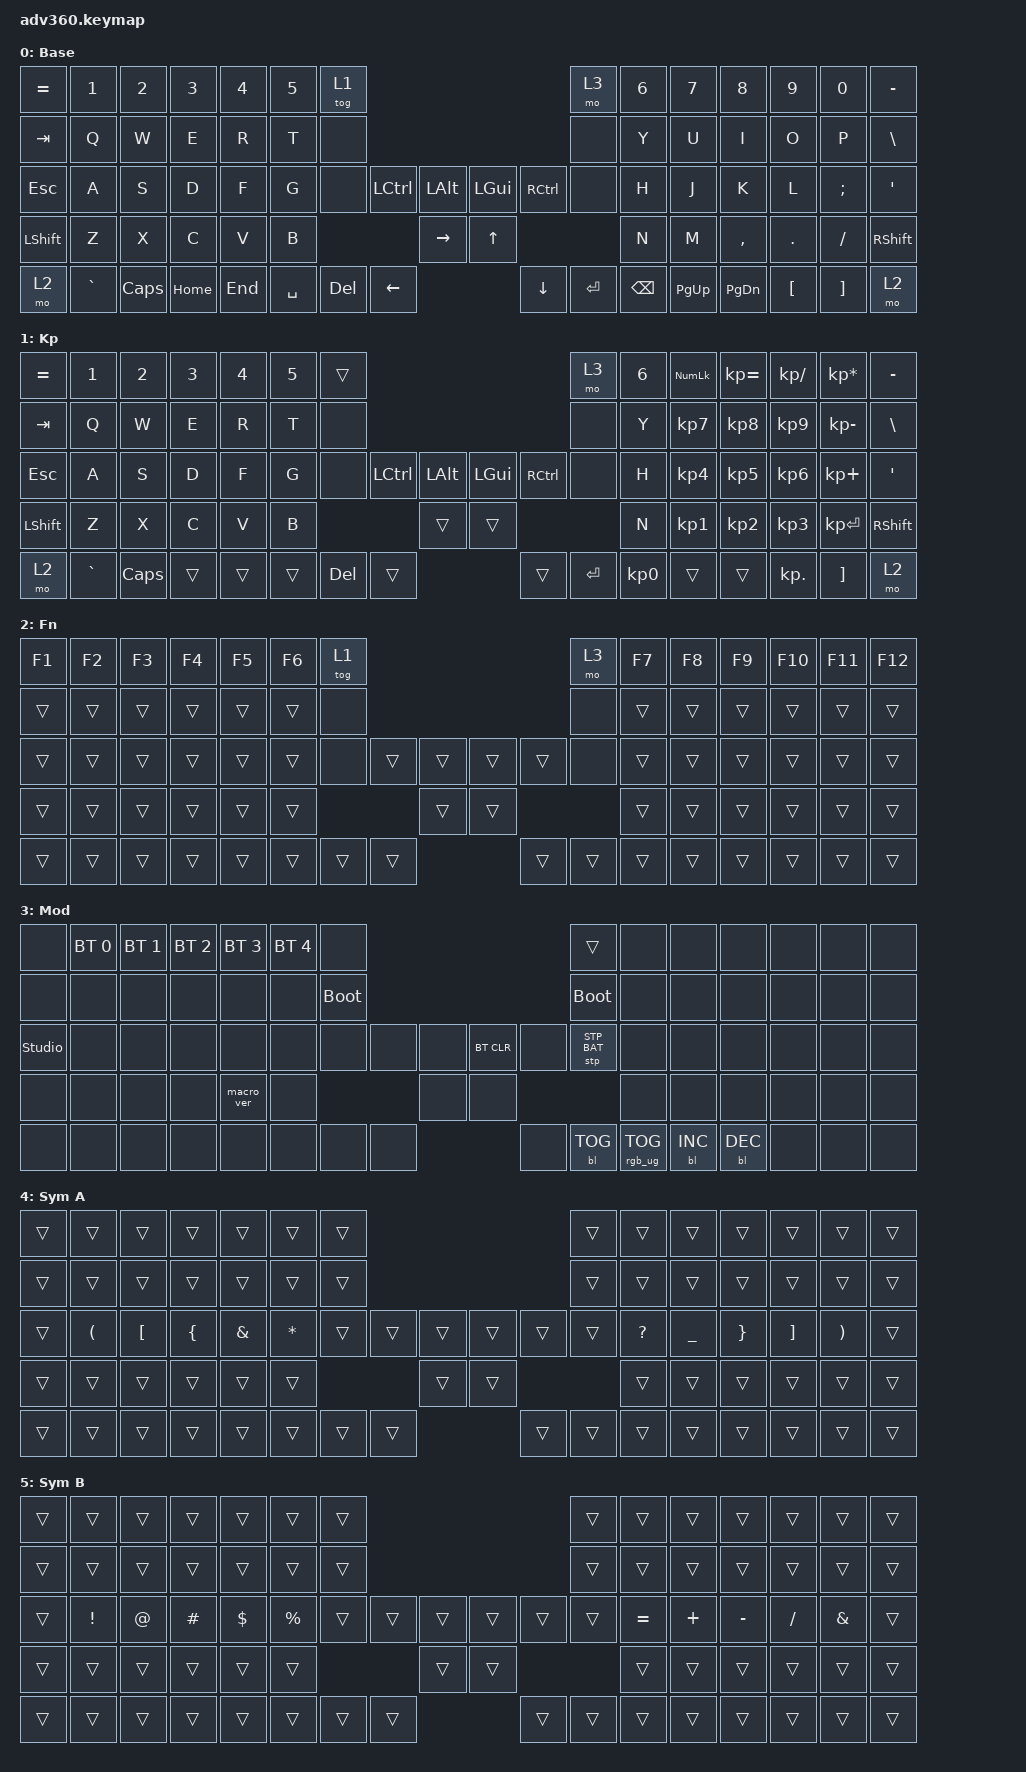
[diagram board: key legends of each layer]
#include <behaviors.dtsi>
#include <dt-bindings/zmk/keys.h>
#include <dt-bindings/zmk/bt.h>
#include <dt-bindings/zmk/rgb.h>
#include <dt-bindings/zmk/stp.h>
#include <dt-bindings/zmk/backlight.h>
#include <dt-bindings/zmk/pointing.h>

/ {
    behaviors {
      #include "macros.dtsi"
      #include "version.dtsi"

      hm: homerow_mods {
          compatible = "zmk,behavior-hold-tap";
          label = "HOMEROW_MODS";
          #binding-cells = <2>;
          tapping-term-ms = <200>;
          quick_tap_ms = <175>;
          flavor = "tap-preferred";
          bindings = <&kp>, <&kp>;
      };
    };

  keymap {
    compatible = "zmk,keymap";

    default_layer {
      display-name = "Base";
      bindings = <
        &kp EQUAL &kp N1    &kp N2   &kp N3   &kp N4    &kp N5 &tog 1                                                            &mo 3 &kp N6 &kp N7    &kp N8    &kp N9   &kp N0   &kp MINUS
        &kp TAB   &kp Q     &kp W    &kp E    &kp R     &kp T  &none                                                             &none &kp Y  &kp U     &kp I     &kp O    &kp P    &kp BSLH
        &kp ESC   &kp A     &kp S    &kp D    &kp F     &kp G  &none           &kp LCTRL &kp LALT  &kp LGUI  &kp RCTRL           &none &kp H  &kp J     &kp K     &kp L    &kp SEMI &kp SQT
        &kp LSHFT &kp Z     &kp X    &kp C    &kp V     &kp B                            &kp RIGHT &kp UP                              &kp N  &kp M     &kp COMMA &kp DOT  &kp FSLH &kp RSHFT
        &mo 2     &kp GRAVE &kp CAPS &kp HOME &kp END                 &kp SPACE &kp DEL  &kp LEFT  &kp DOWN  &kp ENTER &kp BSPC              &kp PG_UP &kp PG_DN &kp LBKT &kp RBKT &mo 2
      >;
    };
    keypad {
      display-name = "Kp";
      bindings = <
        &kp EQUAL &kp N1    &kp N2   &kp N3   &kp N4    &kp N5 &trans                                                            &mo 3 &kp N6 &kp KP_NUM &kp KP_EQUAL &kp KP_DIVIDE &kp KP_MULTIPLY &kp MINUS
        &kp TAB   &kp Q     &kp W    &kp E    &kp R     &kp T  &none                                                             &none &kp Y  &kp KP_N7  &kp KP_N8    &kp KP_N9     &kp KP_MINUS    &kp BSLH
        &kp ESC   &kp A     &kp S    &kp D    &kp F     &kp G  &none           &kp LCTRL &kp LALT  &kp LGUI  &kp RCTRL           &none &kp H  &kp KP_N4  &kp KP_N5    &kp KP_N6     &kp KP_PLUS     &kp SQT
        &kp LSHFT &kp Z     &kp X    &kp C    &kp V     &kp B                            &trans    &trans                              &kp N  &kp KP_N1  &kp KP_N2    &kp KP_N3     &kp KP_ENTER    &kp RSHFT
        &mo 2     &kp GRAVE &kp CAPS &trans   &trans               &trans    &kp DEL  &trans    &trans    &kp ENTER &kp KP_N0              &trans    &trans     &kp KP_DOT    &kp RBKT        &mo 2
      >;
    };
    fn {
      display-name = "Fn";
      bindings = <
        &kp F1 &kp F2 &kp F3 &kp F4 &kp F5 &kp F6 &tog 1                                                &mo 3 &kp F7 &kp F8 &kp F9 &kp F10 &kp F11 &kp F12
        &trans &trans &trans &trans &trans &trans  &none                                                  &none &trans &trans &trans &trans  &trans  &trans
        &trans &trans &trans &trans &trans &trans  &none           &trans    &trans    &trans    &trans   &none &trans &trans &trans &trans  &trans  &trans
        &trans &trans &trans &trans &trans &trans                            &trans    &trans                   &trans &trans &trans &trans  &trans  &trans
        &trans &trans &trans &trans &trans                  &trans &trans    &trans    &trans    &trans &trans         &trans &trans &trans  &trans  &trans
      >;
    };
    mod {
      display-name = "Mod";
      bindings = <
        &none  &bt BT_SEL 0 &bt BT_SEL 1 &bt BT_SEL 2 &bt BT_SEL 3 &bt BT_SEL 4 &none                                                                  &trans       &none        &none        &none        &none &none &none
        &none  &none        &none        &none        &none        &none        &bootloader                                                            &bootloader  &none        &none        &none        &none &none &none
        &studio_unlock &none &none       &none        &none        &none        &none               &none &none &bt BT_CLR &none                       &stp STP_BAT &none        &none        &none        &none &none &none
        &none  &none        &none        &none        &macro_ver   &none                                   &none &none                                              &none        &none        &none        &none &none &none
        &none  &none        &none        &none        &none                                  &none &none   &none &none      &bl BL_TOG &rgb_ug RGB_TOG               &bl BL_INC   &bl BL_DEC   &none &none &none
      >;
    };
    layer_a {
      display-name = "Sym A";
      bindings = <
        &trans &trans    &trans   &trans    &trans    &trans    &trans                                                              &trans &trans    &trans    &trans    &trans   &trans   &trans
        &trans &trans    &trans   &trans    &trans    &trans    &trans                                                              &trans &trans    &trans    &trans    &trans   &trans   &trans
        &trans &kp LPAR  &kp LBKT &kp LBRC  &kp AMPS  &kp STAR  &trans          &trans &trans &trans &trans                       &trans &kp QMARK &kp UNDER &kp RBRC  &kp RBKT &kp RPAR &trans
        &trans &trans    &trans   &trans    &trans    &trans                              &trans &trans                                    &trans    &trans    &trans    &trans   &trans   &trans
        &trans &trans    &trans   &trans    &trans                      &trans &trans     &trans &trans &trans &trans                             &trans    &trans    &trans   &trans   &trans
      >;
    };
    layer_b {
      display-name = "Sym B";
      bindings = <
        &trans &trans    &trans &trans    &trans    &trans    &trans                                                                &trans &trans    &trans   &trans    &trans   &trans   &trans
        &trans &trans    &trans &trans    &trans    &trans    &trans                                                                &trans &trans    &trans   &trans    &trans   &trans   &trans
        &trans &kp EXCL  &kp AT &kp HASH  &kp DLLR  &kp PRCNT &trans          &trans &trans &trans &trans                         &trans &kp EQUAL &kp PLUS &kp MINUS &kp FSLH &kp AMPS &trans
        &trans &trans    &trans &trans    &trans    &trans                              &trans &trans                                      &trans    &trans   &trans    &trans   &trans   &trans
        &trans &trans    &trans &trans    &trans                      &trans &trans     &trans &trans &trans &trans                              &trans   &trans    &trans   &trans   &trans
      >;
    };
    extra3 {
      display-name = "Cyan";
      status = "reserved";
    };
    extra4 {
      display-name = "Yellow";
      status = "reserved";
    };
  };
};
